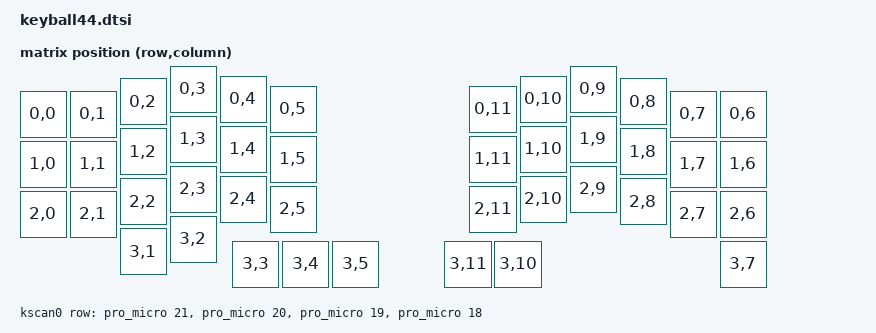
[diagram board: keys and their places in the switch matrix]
#include <dt-bindings/zmk/matrix_transform.h>
#include <physical_layouts.dtsi>

/ {
    chosen {
        zephyr,display = &oled;
	zmk,physical-layout = &keyball_physical_layout;
    };

	keyball_physical_layout: keyball_physical_layout {
        compatible = "zmk,physical-layout";
        display-name = "Default";
        transform = <&default_transform>;
        kscan = <&kscan0>;

        keys  //                     w   h    x    y     rot    rx    ry
            = <&key_physical_attrs 100 100    0   50       0     0     0>
            , <&key_physical_attrs 100 100  100   50       0     0     0>
            , <&key_physical_attrs 100 100  200   25       0     0     0>
            , <&key_physical_attrs 100 100  300    0       0     0     0>
            , <&key_physical_attrs 100 100  400   20       0     0     0>
            , <&key_physical_attrs 100 100  500   40       0     0     0>
            , <&key_physical_attrs 100 100  900   40       0     0     0>
            , <&key_physical_attrs 100 100 1000   20       0     0     0>
            , <&key_physical_attrs 100 100 1100    0       0     0     0>
            , <&key_physical_attrs 100 100 1200   25       0     0     0>
            , <&key_physical_attrs 100 100 1300   50       0     0     0>
            , <&key_physical_attrs 100 100 1400   50       0     0     0>
            , <&key_physical_attrs 100 100    0  150       0     0     0>
            , <&key_physical_attrs 100 100  100  150       0     0     0>
            , <&key_physical_attrs 100 100  200  125       0     0     0>
            , <&key_physical_attrs 100 100  300  100       0     0     0>
            , <&key_physical_attrs 100 100  400  120       0     0     0>
            , <&key_physical_attrs 100 100  500  140       0     0     0>
            , <&key_physical_attrs 100 100  900  140       0     0     0>
            , <&key_physical_attrs 100 100 1000  120       0     0     0>
            , <&key_physical_attrs 100 100 1100  100       0     0     0>
            , <&key_physical_attrs 100 100 1200  125       0     0     0>
            , <&key_physical_attrs 100 100 1300  150       0     0     0>
            , <&key_physical_attrs 100 100 1400  150       0     0     0>
            , <&key_physical_attrs 100 100    0  250       0     0     0>
            , <&key_physical_attrs 100 100  100  250       0     0     0>
            , <&key_physical_attrs 100 100  200  225       0     0     0>
            , <&key_physical_attrs 100 100  300  200       0     0     0>
            , <&key_physical_attrs 100 100  400  220       0     0     0>
            , <&key_physical_attrs 100 100  500  240       0     0     0>
            , <&key_physical_attrs 100 100  900  240       0     0     0>
            , <&key_physical_attrs 100 100 1000  220       0     0     0>
            , <&key_physical_attrs 100 100 1100  200       0     0     0>
            , <&key_physical_attrs 100 100 1200  225       0     0     0>
            , <&key_physical_attrs 100 100 1300  250       0     0     0>
            , <&key_physical_attrs 100 100 1400  250       0     0     0>
            , <&key_physical_attrs 100 100  200  325       0     0     0>
            , <&key_physical_attrs 100 100  300  300       0     0     0>
            , <&key_physical_attrs 100 100  425  350       0     0     0>
            , <&key_physical_attrs 100 100  525  350       0     0     0>
            , <&key_physical_attrs 100 100  625  350       0     0     0>
            , <&key_physical_attrs 100 100  850  350       0     0     0>
            , <&key_physical_attrs 100 100  950  350       0     0     0>
            , <&key_physical_attrs 100 100 1400  350       0     0     0>
            ;
    };

    default_transform: keymap_transform_0 {
		compatible = "zmk,matrix-transform";
        columns = <12>;
        rows = <4>;

        map = <
            RC(0,0) RC(0,1) RC(0,2) RC(0,3) RC(0,4) RC(0,5)                      RC(0,11) RC(0,10) RC(0,9) RC(0,8) RC(0,7) RC(0,6)
            RC(1,0) RC(1,1) RC(1,2) RC(1,3) RC(1,4) RC(1,5)                      RC(1,11) RC(1,10) RC(1,9) RC(1,8) RC(1,7) RC(1,6)
            RC(2,0) RC(2,1) RC(2,2) RC(2,3) RC(2,4) RC(2,5)                      RC(2,11) RC(2,10) RC(2,9) RC(2,8) RC(2,7) RC(2,6)
                    RC(3,1) RC(3,2) RC(3,3) RC(3,4) RC(3,5)                      RC(3,11) RC(3,10)                 RC(3,7)
        >;
    };
	
    kscan0: kscan {
        compatible = "zmk,kscan-gpio-matrix";
        label = "KSCAN";

        diode-direction = "col2row";
		row-gpios
			= <&pro_micro 21 (GPIO_ACTIVE_HIGH | GPIO_PULL_DOWN)>
			, <&pro_micro 20 (GPIO_ACTIVE_HIGH | GPIO_PULL_DOWN)>
			, <&pro_micro 19 (GPIO_ACTIVE_HIGH | GPIO_PULL_DOWN)>
			, <&pro_micro 18 (GPIO_ACTIVE_HIGH | GPIO_PULL_DOWN)>
            ;
    };
};    

&pinctrl {
    i2c0_default: i2c0_default {
        group1 {
            psels = <NRF_PSEL(TWIM_SDA, 0, 17)>,
                    <NRF_PSEL(TWIM_SCL, 0, 20)>;
        };
    };

    i2c0_sleep: i2c0_sleep {
        group1 {
            psels = <NRF_PSEL(TWIM_SDA, 0, 17)>,
                    <NRF_PSEL(TWIM_SCL, 0, 20)>;
            low-power-enable;
        };
    };
};

&i2c0 {
    status = "okay";
    compatible = "nordic,nrf-twi";
    pinctrl-0 = <&i2c0_default>;
    pinctrl-1 = <&i2c0_sleep>;
    pinctrl-names = "default", "sleep";

    oled: ssd1306@3c {
        compatible = "solomon,ssd1306fb";
        reg = <0x3c>;
        width = <128>;
        height = <32>;
        segment-offset = <0>;
        page-offset = <0>;
        display-offset = <0>;
        multiplex-ratio = <31>;
        segment-remap;
        com-invdir;
        com-sequential;
        inversion-on;
        prechargep = <0x22>;
    };
};
